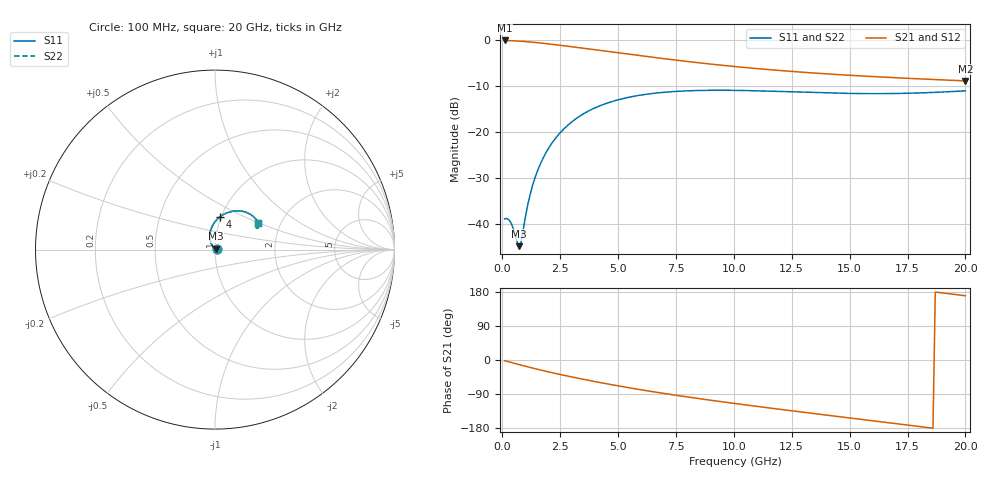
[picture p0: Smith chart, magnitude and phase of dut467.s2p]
! Touchstone file exported from HFSS 2024.1.0
!  File:  C:/UserFiles/LocalFiles/RDL_TSV_Batchsim/temp_RDL_TSV_467_1779728864.aedt
!  Generated:  01:24:31 AM May 26, 2026
!  Design:  RDL_TSV
!  Project:  temp_RDL_TSV_467_1779728864
!  Setup:  Setup1
!  Solution:  Sweep
! Variables:
!  dtsv = 8.56um
!  hbump = 3um
!  htsv = 71.76um
!  ldown = 648.66um
!  lrdl = 203.48um
!  p = 40
!  p1 = 58.86um
!  rhole = 10um
!  subl = 2759.9um
!  t = 450um
!  tdown = 3.3um
!  trdl = 3.56um
!  viad = 10um
!  wdown = 29.52um
!  wrdl = 26.1um
!  xbump = 18um
# GHz S MA R 50.000000
! Terminal data exported
! Port[1] = TM1_1_T1
! Port[2] = TM1_4_T1
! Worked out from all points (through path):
!   200 points, 100 MHz to 20 GHz, reference 50 ohm
!   highest |S21| = -0.10 dB at 100 MHz (marker M1); lowest = -8.9 dB at 20 GHz (marker M2)
!   group delay of S21, straight-line fit = 24.8 ps
!   lowest |S11| = -44.8 dB at 700 MHz (marker M3), VSWR 1.01, Z = 50.4 + j0.451 ohm
!   |S11| at or under -10 dB: start of sweep to end of sweep
!   |S22| runs from -44.8 to -10.9 dB; largest |S21 - S12| = 2.4e-14
!   S11 on the Smith chart (normalised r, x): 100 MHz: 1.02, +0.00; 4 GHz: 0.98, +0.37; 20 GHz: 1.53, +0.49
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0.1  0.01138 4.7  0.9882 -1.7  0.9882 -1.7  0.01138 4.7
! Gamma 0 0 0 0
! Port Impedance 50 0 50 0
0.3  0.011 9.2  0.9847 -5.1  0.9847 -5.1  0.01101 9.2
0.4  0.009985 11.7  0.9824 -6.8  0.9824 -6.8  0.009988 11.7
0.7  0.005727 51.4  0.9733 -11.7  0.9733 -11.7  0.005728 51.3
0.8  0.006167 82.2  0.9696 -13.3  0.9696 -13.3  0.006159 82.1
1.1  0.01615 120.7  0.9565 -18.1  0.9565 -18.1  0.01612 120.6
1.3  0.02578 123.6  0.9464 -21.2  0.9464 -21.2  0.02574 123.6
1.5  0.03659 122.5  0.9355 -24.2  0.9355 -24.2  0.03654 122.5
1.7  0.0482 120.0  0.9241 -27.1  0.9241 -27.1  0.04814 120.0
2.1  0.0728 113.4  0.9001 -32.8  0.9001 -32.8  0.07272 113.4
2.5  0.09799 106.2  0.8754 -38.3  0.8754 -38.3  0.09789 106.2
3  0.1286 97.5  0.8443 -44.8  0.8443 -44.8  0.1285 97.5
3.5  0.1571 89.5  0.8136 -51.0  0.8136 -51.0  0.1569 89.5
4  0.1825 82.1  0.7835 -57.0  0.7835 -57.0  0.1824 82.1
5.2  0.2303 67.0  0.7149 -70.4  0.7149 -70.4  0.2301 67.0
6.8  0.2673 51.8  0.6343 -86.5  0.6343 -86.5  0.2671 51.8
8.4  0.282 41.0  0.568 -101.1  0.568 -101.1  0.2818 41.0
10.1  0.283 33.2  0.5125 -115.3  0.5125 -115.3  0.2829 33.2
11.7  0.2769 28.8  0.4718 -127.9  0.4718 -127.9  0.2768 28.8
13.4  0.2684 26.8  0.4382 -140.9  0.4382 -140.9  0.2683 26.7
16.7  0.2614 28.3  0.3917 -165.7  0.3917 -165.7  0.2613 28.3
20  0.2799 31.9  0.3591 169.5  0.3591 169.5  0.2797 31.8
